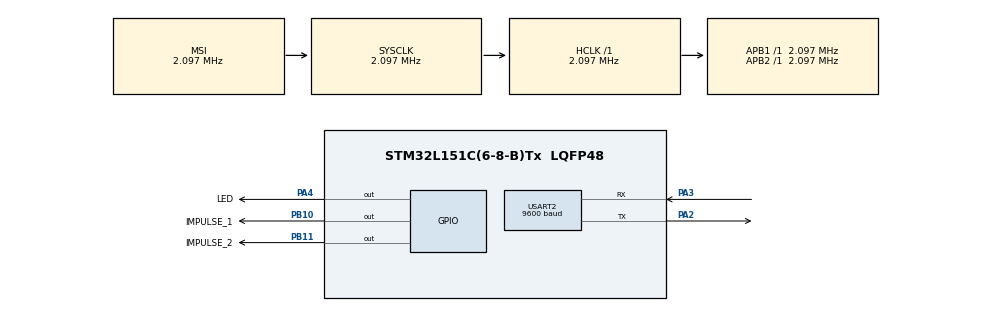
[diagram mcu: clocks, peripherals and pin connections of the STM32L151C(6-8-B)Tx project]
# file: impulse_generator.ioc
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Mcu.Family=STM32L1
Mcu.Name=STM32L151C(6-8-B)Tx
Mcu.Package=LQFP48
NVIC.PriorityGroup=NVIC_PRIORITYGROUP_4
NVIC.TIM6_IRQn=true\:0\:0\:false\:false\:true\:true
NVIC.TIM7_IRQn=true\:0\:0\:false\:false\:true\:true
PA2.Mode=Asynchronous
PA2.Signal=USART2_TX
PA3.Mode=Asynchronous
PA3.Signal=USART2_RX
PA4.GPIO_Label=LED
PA4.Signal=GPIO_Output
PB10.GPIO_Label=IMPULSE_1
PB10.Signal=GPIO_Output
PB11.GPIO_Label=IMPULSE_2
PB11.Signal=GPIO_Output
ProjectManager.HeapSize=0x400
ProjectManager.StackSize=0x400
ProjectManager.TargetToolchain=MDK-ARM V5
RCC.AHBFreq_Value=2097000
RCC.APB1Freq_Value=2097000
RCC.APB2Freq_Value=2097000
RCC.HSE_VALUE=24000000
RCC.HSI_VALUE=16000000
RCC.LSE_VALUE=32768
RCC.MSI_VALUE=2097000
RCC.SYSCLKFreq_VALUE=2097000
RCC.VCOOutputFreq_Value=48000000
TIM6.Period=0xffff
TIM6.Prescaler=0x1f
TIM6.TIM_MasterOutputTrigger=TIM_TRGO_RESET
TIM7.Period=0xffff
TIM7.Prescaler=0x24
USART2.BaudRate=9600
USART2.VirtualMode=VM_ASYNC
VP_TIM6_VS_ClockSourceINT.Mode=Enable_Timer
VP_TIM7_VS_ClockSourceINT.Mode=Enable_Timer
board=custom

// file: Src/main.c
/**
  ******************************************************************************
  * @file           : main.c
  * @brief          : Main program body
  ******************************************************************************
  ** This notice applies to any and all portions of this file
  * that are not between comment pairs USER CODE BEGIN and
  * USER CODE END. Other portions of this file, whether
  * inserted by the user or by software development tools
  * are owned by their respective copyright owners.
  *
  * COPYRIGHT(c) 2019 STMicroelectronics
  *
  * Redistribution and use in source and binary forms, with or without modification,
  * are permitted provided that the following conditions are met:
  *   1. Redistributions of source code must retain the above copyright notice,
  *      this list of conditions and the following disclaimer.
  *   2. Redistributions in binary form must reproduce the above copyright notice,
  *      this list of conditions and the following disclaimer in the documentation
  *      and/or other materials provided with the distribution.
  *   3. Neither the name of STMicroelectronics nor the names of its contributors
  *      may be used to endorse or promote products derived from this software
  *      without specific prior written permission.
  *
  * THIS SOFTWARE IS PROVIDED BY THE COPYRIGHT HOLDERS AND CONTRIBUTORS "AS IS"
  * AND ANY EXPRESS OR IMPLIED WARRANTIES, INCLUDING, BUT NOT LIMITED TO, THE
  * IMPLIED WARRANTIES OF MERCHANTABILITY AND FITNESS FOR A PARTICULAR PURPOSE ARE
  * DISCLAIMED. IN NO EVENT SHALL THE COPYRIGHT HOLDER OR CONTRIBUTORS BE LIABLE
  * FOR ANY DIRECT, INDIRECT, INCIDENTAL, SPECIAL, EXEMPLARY, OR CONSEQUENTIAL
  * DAMAGES (INCLUDING, BUT NOT LIMITED TO, PROCUREMENT OF SUBSTITUTE GOODS OR
  * SERVICES; LOSS OF USE, DATA, OR PROFITS; OR BUSINESS INTERRUPTION) HOWEVER
  * CAUSED AND ON ANY THEORY OF LIABILITY, WHETHER IN CONTRACT, STRICT LIABILITY,
  * OR TORT (INCLUDING NEGLIGENCE OR OTHERWISE) ARISING IN ANY WAY OUT OF THE USE
  * OF THIS SOFTWARE, EVEN IF ADVISED OF THE POSSIBILITY OF SUCH DAMAGE.
  *
  ******************************************************************************
  */
#include "main.h"
#include "stm32l1xx_hal.h"

/* USER CODE BEGIN Includes */

#include <stdint.h>
#include <string.h>

/* USER CODE END Includes */

TIM_HandleTypeDef htim6;
TIM_HandleTypeDef htim7;

UART_HandleTypeDef huart2;

/* USER CODE BEGIN PV */
/* Private variables ---------------------------------------------------------*/

/* USER CODE END PV */

void SystemClock_Config(void);
static void MX_GPIO_Init(void);
static void MX_TIM6_Init(void);
static void MX_TIM7_Init(void);
static void MX_USART2_UART_Init(void);

/* USER CODE BEGIN PFP */
/* Private function prototypes -----------------------------------------------*/

void print(char str[]);
void printHex(uint32_t val);
void printDec(uint32_t val);

/* USER CODE END PFP */

/* USER CODE BEGIN 0 */

uint8_t isTim6Interrupt = 0;
uint8_t isTim7Interrupt = 0;

uint32_t impulse1Count = 0;
uint32_t impulse2Count = 0;

/* USER CODE END 0 */

int main(void)
{

  /* MCU Configuration----------------------------------------------------------*/

  /* Reset of all peripherals, Initializes the Flash interface and the Systick. */
  HAL_Init();

  /* Configure the system clock */
  SystemClock_Config();

  /* Initialize all configured peripherals */
  MX_GPIO_Init();
  MX_TIM6_Init();
  MX_TIM7_Init();
  MX_USART2_UART_Init();
  /* USER CODE BEGIN 2 */

  HAL_TIM_Base_Start_IT(&htim6);
  HAL_TIM_Base_Start_IT(&htim7);

  print("Init\r\n");
  HAL_Delay(5000);

  /* USER CODE END 2 */

  /* Infinite loop */
  while (1)
  {

  /* USER CODE BEGIN 3 */

      if (isTim6Interrupt) {
          HAL_GPIO_WritePin(IMPULSE_1_GPIO_Port, IMPULSE_1_Pin, GPIO_PIN_SET);
          HAL_Delay(1);
          HAL_GPIO_WritePin(IMPULSE_1_GPIO_Port, IMPULSE_1_Pin, GPIO_PIN_RESET);
          isTim6Interrupt = 0;
          impulse1Count++;

          if (impulse1Count % 1000 == 0) {
              print("1st generator: ");
              printDec(impulse1Count);
              print("\r\n");
          }
      }
      if (isTim7Interrupt) {
          HAL_GPIO_WritePin(IMPULSE_2_GPIO_Port, IMPULSE_2_Pin, GPIO_PIN_SET);
          HAL_Delay(1);
          HAL_GPIO_WritePin(IMPULSE_2_GPIO_Port, IMPULSE_2_Pin, GPIO_PIN_RESET);
          isTim7Interrupt = 0;
          impulse2Count++;

          if (impulse2Count % 1000 == 0) {
              print("2st generator: ");
              printDec(impulse2Count);
              print("\r\n");
          }
      }

  }
  /* USER CODE END 3 */

}

void SystemClock_Config(void)
{

  RCC_OscInitTypeDef RCC_OscInitStruct;
  RCC_ClkInitTypeDef RCC_ClkInitStruct;

    /**Configure the main internal regulator output voltage
    */
  __HAL_PWR_VOLTAGESCALING_CONFIG(PWR_REGULATOR_VOLTAGE_SCALE1);

    /**Initializes the CPU, AHB and APB busses clocks
    */
  RCC_OscInitStruct.OscillatorType = RCC_OSCILLATORTYPE_MSI;
  RCC_OscInitStruct.MSIState = RCC_MSI_ON;
  RCC_OscInitStruct.MSICalibrationValue = 0;
  RCC_OscInitStruct.MSIClockRange = RCC_MSIRANGE_5;
  RCC_OscInitStruct.PLL.PLLState = RCC_PLL_NONE;
  if (HAL_RCC_OscConfig(&RCC_OscInitStruct) != HAL_OK)
  {
    _Error_Handler(__FILE__, __LINE__);
  }

    /**Initializes the CPU, AHB and APB busses clocks
    */
  RCC_ClkInitStruct.ClockType = RCC_CLOCKTYPE_HCLK|RCC_CLOCKTYPE_SYSCLK
                              |RCC_CLOCKTYPE_PCLK1|RCC_CLOCKTYPE_PCLK2;
  RCC_ClkInitStruct.SYSCLKSource = RCC_SYSCLKSOURCE_MSI;
  RCC_ClkInitStruct.AHBCLKDivider = RCC_SYSCLK_DIV1;
  RCC_ClkInitStruct.APB1CLKDivider = RCC_HCLK_DIV1;
  RCC_ClkInitStruct.APB2CLKDivider = RCC_HCLK_DIV1;

  if (HAL_RCC_ClockConfig(&RCC_ClkInitStruct, FLASH_LATENCY_0) != HAL_OK)
  {
    _Error_Handler(__FILE__, __LINE__);
  }

    /**Configure the Systick interrupt time
    */
  HAL_SYSTICK_Config(HAL_RCC_GetHCLKFreq()/1000);

    /**Configure the Systick
    */
  HAL_SYSTICK_CLKSourceConfig(SYSTICK_CLKSOURCE_HCLK);

  /* SysTick_IRQn interrupt configuration */
  HAL_NVIC_SetPriority(SysTick_IRQn, 0, 0);
}

/* TIM6 init function */
static void MX_TIM6_Init(void)
{

  TIM_MasterConfigTypeDef sMasterConfig;

  htim6.Instance = TIM6;
  htim6.Init.Prescaler = 0x00;
  htim6.Init.CounterMode = TIM_COUNTERMODE_UP;
  htim6.Init.Period = 0xf8ff;
  if (HAL_TIM_Base_Init(&htim6) != HAL_OK)
  {
    _Error_Handler(__FILE__, __LINE__);
  }

  sMasterConfig.MasterOutputTrigger = TIM_TRGO_RESET;
  sMasterConfig.MasterSlaveMode = TIM_MASTERSLAVEMODE_DISABLE;
  if (HAL_TIMEx_MasterConfigSynchronization(&htim6, &sMasterConfig) != HAL_OK)
  {
    _Error_Handler(__FILE__, __LINE__);
  }

}

/* TIM7 init function */
static void MX_TIM7_Init(void)
{

  TIM_MasterConfigTypeDef sMasterConfig;

  htim7.Instance = TIM7;
  htim7.Init.Prescaler = 0x00;
  htim7.Init.CounterMode = TIM_COUNTERMODE_UP;
  htim7.Init.Period = 0xffff;
  if (HAL_TIM_Base_Init(&htim7) != HAL_OK)
  {
    _Error_Handler(__FILE__, __LINE__);
  }

  sMasterConfig.MasterOutputTrigger = TIM_TRGO_RESET;
  sMasterConfig.MasterSlaveMode = TIM_MASTERSLAVEMODE_DISABLE;
  if (HAL_TIMEx_MasterConfigSynchronization(&htim7, &sMasterConfig) != HAL_OK)
  {
    _Error_Handler(__FILE__, __LINE__);
  }

}

/* USART2 init function */
static void MX_USART2_UART_Init(void)
{

  huart2.Instance = USART2;
  huart2.Init.BaudRate = 9600;
  huart2.Init.WordLength = UART_WORDLENGTH_8B;
  huart2.Init.StopBits = UART_STOPBITS_1;
  huart2.Init.Parity = UART_PARITY_NONE;
  huart2.Init.Mode = UART_MODE_TX_RX;
  huart2.Init.HwFlowCtl = UART_HWCONTROL_NONE;
  huart2.Init.OverSampling = UART_OVERSAMPLING_16;
  if (HAL_UART_Init(&huart2) != HAL_OK)
  {
    _Error_Handler(__FILE__, __LINE__);
  }

}

/** Configure pins as
        * Analog
        * Input
        * Output
        * EVENT_OUT
        * EXTI
*/
static void MX_GPIO_Init(void)
{

  GPIO_InitTypeDef GPIO_InitStruct;

  /* GPIO Ports Clock Enable */
  __HAL_RCC_GPIOA_CLK_ENABLE();
  __HAL_RCC_GPIOB_CLK_ENABLE();

  /*Configure GPIO pin Output Level */
  HAL_GPIO_WritePin(LED_GPIO_Port, LED_Pin, GPIO_PIN_RESET);

  /*Configure GPIO pin Output Level */
  HAL_GPIO_WritePin(GPIOB, IMPULSE_1_Pin|IMPULSE_2_Pin, GPIO_PIN_RESET);

  /*Configure GPIO pin : LED_Pin */
  GPIO_InitStruct.Pin = LED_Pin;
  GPIO_InitStruct.Mode = GPIO_MODE_OUTPUT_PP;
  GPIO_InitStruct.Pull = GPIO_NOPULL;
  GPIO_InitStruct.Speed = GPIO_SPEED_FREQ_LOW;
  HAL_GPIO_Init(LED_GPIO_Port, &GPIO_InitStruct);

  /*Configure GPIO pins : IMPULSE_1_Pin IMPULSE_2_Pin */
  GPIO_InitStruct.Pin = IMPULSE_1_Pin|IMPULSE_2_Pin;
  GPIO_InitStruct.Mode = GPIO_MODE_OUTPUT_PP;
  GPIO_InitStruct.Pull = GPIO_NOPULL;
  GPIO_InitStruct.Speed = GPIO_SPEED_FREQ_LOW;
  HAL_GPIO_Init(GPIOB, &GPIO_InitStruct);

}

/* USER CODE BEGIN 4 */

//
void HAL_TIM_PeriodElapsedCallback(TIM_HandleTypeDef *htim) {
    if (htim->Instance == TIM6) {
        isTim6Interrupt = 1;
    }
    if (htim->Instance == TIM7) {
        isTim7Interrupt = 1;
    }
}
//

//
void print(char str[]) {
    HAL_UART_Transmit(&huart2, (uint8_t*)str, strlen(str), 100);
}
//

//
void printHex(uint32_t val) {
    char digits[] = { '0', '1', '2', '3', '4', '5', '6', '7', '8', '9', 'A', 'B', 'C', 'D', 'E', 'F' };
    char number = digits[(val & 0xF0) >> 4];

    HAL_UART_Transmit(&huart2, (uint8_t*)"0x", strlen("0x"), 100);
    HAL_UART_Transmit(&huart2, (uint8_t*)&number, sizeof(number), 100);

    number = digits[(val & 0x0F)];

    HAL_UART_Transmit(&huart2, (uint8_t*)&number, sizeof(number), 100);
    HAL_UART_Transmit(&huart2, (uint8_t*)" ", strlen(" "), 100);
}
//

//
void printDec(uint32_t val) {
    char digits[] = { '0', '1', '2', '3', '4', '5', '6', '7', '8', '9' };
    char numb;
    uint8_t numbers[10] = { 0 };
    uint8_t rank = 0;

    do {
		numbers[rank] = val % 10;
		val = val / 10;
		rank++;
	} while(val);

    if (rank <= 10) {
    	for (int8_t i = rank - 1; i >= 0; i--) {
    		numb = digits[numbers[i]];
    		HAL_UART_Transmit(&huart2, (uint8_t*)&numb, sizeof(numb), 100);
    	}
    }

    HAL_UART_Transmit(&huart2, (uint8_t*)" ", strlen(" "), 100);
}
//
//

/* USER CODE END 4 */

void _Error_Handler(char *file, int line)
{
  while(1)
  {
  }
}

/************************ (C) COPYRIGHT STMicroelectronics *****END OF FILE****/
